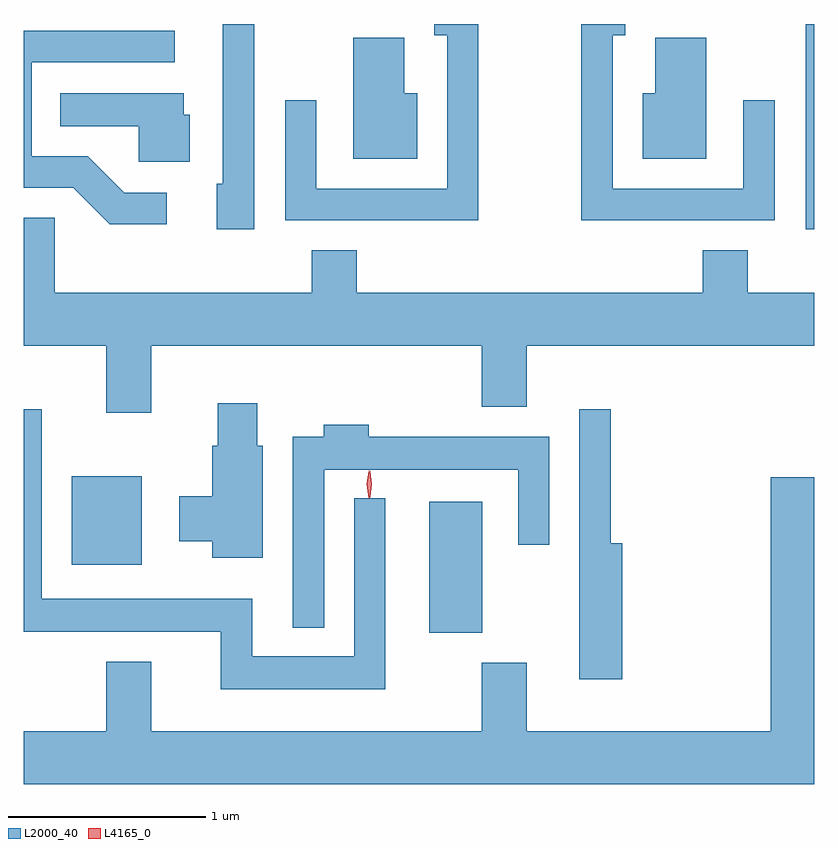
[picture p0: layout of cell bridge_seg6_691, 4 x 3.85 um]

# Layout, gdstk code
import gdstk
lib = gdstk.Library(unit=1e-6, precision=1e-09)
def R(c, l, rs):  # rectangles x0, y0, x1, y1
    for r in rs: c.add(gdstk.rectangle(r[:2], r[2:], *l))
def P(c, l, *ps):  # polygons
    for p in ps: c.add(gdstk.Polygon(p, *l))
L2000_40 = (2000, 40)
L4165_0 = (4165, 0)

bridge_seg6_691 = lib.new_cell('bridge_seg6_691')
R(bridge_seg6_691, L2000_40, [(311.086,1581.881,311.354,1582.544), (309.276,1582.226,309.629,1582.674), (312.991,1583.926,313.034,1584.964)])
P(bridge_seg6_691, L2000_40, [(312.834,1584.578),(312.676,1584.578),(312.676,1584.129),(312.014,1584.129),(312.014,1584.906),(312.079,1584.906),(312.079,1584.964),(311.856,1584.964),(311.856,1583.971),(312.834,1583.971)],
  [(310.199,1584.964),(310.041,1584.964),(310.041,1584.154),(310.011,1584.154),(310.011,1583.926),(310.199,1583.926)],
  [(311.334,1584.964),(311.111,1584.964),(311.111,1584.906),(311.176,1584.906),(311.176,1584.129),(310.514,1584.129),(310.514,1584.578),(310.356,1584.578),(310.356,1583.971),(311.334,1583.971)],
  [(309.758,1584.109),(309.542,1584.109),(309.357,1584.294),(309.074,1584.294),(309.074,1584.771),(309.798,1584.771),(309.798,1584.929),(309.034,1584.929),(309.034,1584.136),(309.284,1584.136),(309.469,1583.951),(309.758,1583.951)],
  [(311.024,1584.614),(310.959,1584.614),(310.959,1584.894),(310.701,1584.894),(310.701,1584.281),(311.024,1584.281)],
  [(312.489,1584.894),(312.231,1584.894),(312.231,1584.614),(312.166,1584.614),(312.166,1584.281),(312.489,1584.281)],
  [(309.874,1584.504),(309.844,1584.504),(309.844,1584.614),(309.218,1584.614),(309.218,1584.446),(309.616,1584.446),(309.616,1584.266),(309.874,1584.266)],
  [(309.679,1583.336),(311.351,1583.336),(311.351,1583.026),(311.579,1583.026),(311.579,1583.336),(313.034,1583.336),(313.034,1583.604),(312.699,1583.604),(312.699,1583.819),(312.471,1583.819),(312.471,1583.604),(310.719,1583.604),(310.719,1583.819),(310.491,1583.819),(310.491,1583.604),(309.189,1583.604),(309.189,1583.984),(309.034,1583.984),(309.034,1583.336),(309.451,1583.336),(309.451,1582.996),(309.679,1582.996)],
  [(310.244,1582.829),(310.214,1582.829),(310.214,1583.044),(310.016,1583.044),(310.016,1582.829),(309.986,1582.829),(309.986,1582.574),(309.821,1582.574),(309.821,1582.346),(309.986,1582.346),(309.986,1582.261),(310.244,1582.261)],
  [(312.064,1582.334),(312.004,1582.334),(312.004,1583.013),(311.846,1583.013),(311.846,1581.646),(312.064,1581.646)],
  [(310.864,1582.563),(310.706,1582.563),(310.706,1581.764),(310.189,1581.764),(310.189,1582.054),(309.124,1582.054),(309.124,1583.013),(309.034,1583.013),(309.034,1581.886),(310.031,1581.886),(310.031,1581.596),(310.864,1581.596)],
  [(310.554,1582.706),(311.536,1582.706),(311.536,1582.328),(311.694,1582.328),(311.694,1582.874),(310.779,1582.874),(310.779,1582.934),(310.551,1582.934),(310.551,1582.874),(310.396,1582.874),(310.396,1581.908),(310.554,1581.908)],
  [(313.034,1582.669),(312.816,1582.669),(312.816,1581.384),(311.579,1581.384),(311.579,1581.729),(311.351,1581.729),(311.351,1581.384),(309.679,1581.384),(309.679,1581.734),(309.451,1581.734),(309.451,1581.384),(309.034,1581.384),(309.034,1581.116),(313.034,1581.116)])
P(bridge_seg6_691, L4165_0, [(310.785,1582.567),(310.785,1582.568),(310.775,1582.634),(310.785,1582.7),(310.785,1582.701),(310.786,1582.7),(310.795,1582.634),(310.786,1582.568)],
  [(310.78,1582.563),(310.78,1582.564),(310.77,1582.633),(310.779,1582.702),(310.78,1582.703),(310.78,1582.702),(310.79,1582.633),(310.781,1582.564)])

lib.write_gds('bridge_seg6_691.gds')
